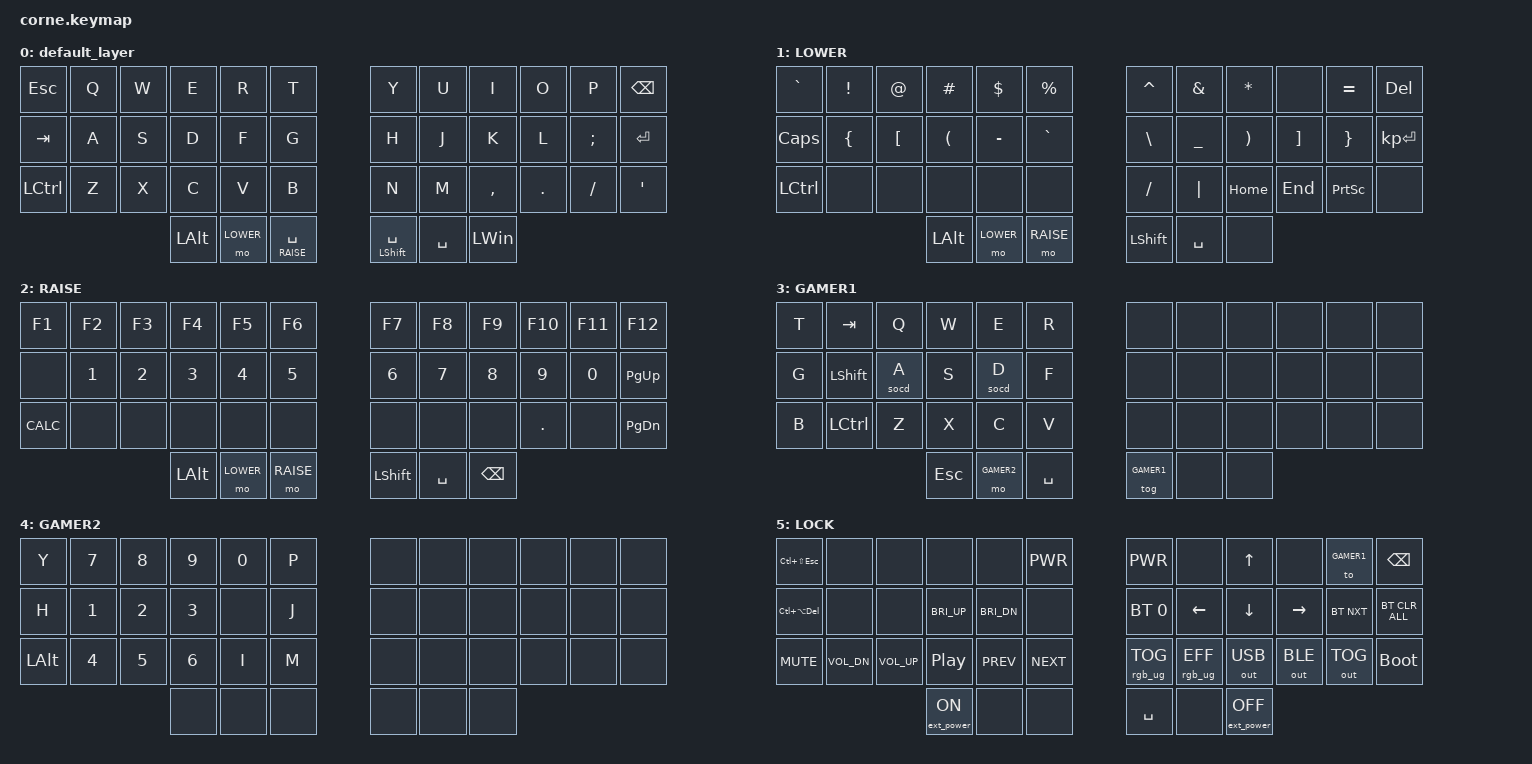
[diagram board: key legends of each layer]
/*
 * Copyright (c) 2020 The ZMK Contributors
 *
 * SPDX-License-Identifier: MIT
 */
 
#define DEFAULT  0
#define LOWER    1
#define RAISE    2
#define GAMER1   3
#define GAMER2	 4
#define LOCK     5


#include <behaviors.dtsi>
#include <behaviors/socd.dtsi>
#include <dt-bindings/zmk/keys.h>
#include <dt-bindings/zmk/bt.h>
#include <dt-bindings/zmk/rgb.h>
#include <dt-bindings/zmk/ext_power.h>
#include <dt-bindings/zmk/outputs.h>

&spi3 {

  led_strip: ws2812@0 {
    compatible = "worldsemi,ws2812-spi";

    /* SPI */
    reg = <0>; /* ignored, but necessary for SPI bindings */
    spi-max-frequency = <4000000>;

    /* WS2812 */
    chain-length = <27>; /* number of LEDs */
    spi-one-frame = <0x70>; /* make sure to configure this properly for your SOC */
    spi-zero-frame = <0x40>; /* make sure to configure this properly for your SOC */
    color-mapping = <LED_COLOR_ID_GREEN
                          LED_COLOR_ID_RED
                          LED_COLOR_ID_BLUE>;
  };
};
/ {
    chosen {
        zmk,underglow = &led_strip;
    };
};

/ {
    conditional_layers {
        compatible = "zmk,conditional-layers";
        LOCK {
            if-layers = <1 2>;
            then-layer = <5>;
        };
    };
};

/ {
        keymap {
                compatible = "zmk,keymap";

                default_layer {
// -----------------------------------------------------------------------------------------
// | ESC  |  Q  |  W  |  E  |  R  |  T  |   |  Y   |  U   |  I  |  O  |  P  | BSPC |
// | TAB  |  A  |  S  |  D  |  F  |  G  |   |  H   |  J   |  K  |  L  |  ;  | RET  |
// |LCTRL |  Z  |  X  |  C  |  V  |  B  |   |  N   |  M   |  ,  |  .  |  /  | '    |
//                    | LALT| LWR |RAISP|   |SHFTSP|SPACE | LWIN |
                        bindings = <
   &kp ESC    &kp Q  &kp W  &kp E     &kp R      &kp T                &kp Y            &kp U      &kp I      &kp O    &kp P     &kp BSPC
   &kp TAB    &kp A  &kp S  &kp D     &kp F      &kp G                &kp H            &kp J      &kp K      &kp L    &kp SEMI  &kp RET
   &kp LCTRL  &kp Z  &kp X  &kp C     &kp V      &kp B                &kp N            &kp M      &kp COMMA  &kp DOT  &kp FSLH  &kp SQT
                            &kp LALT  &mo LOWER  &lt RAISE SPACE      &mt LSHFT SPACE  &kp SPACE  &kp LWIN
                         >;
                };
                LOWER {
// -----------------------------------------------------------------------------------------
// |  `   |  !  |  @  |  #  |  $  |  %  |   |  ^  |  &  |  *  |     |  =  | DEL |
// | CAPS |  {  |  [  |  (  |  -  |  `  |   |  \  |  _  |  )  |  ]  |  }  |ENTER|
// |LCTRL |     |     |     |     |     |   |  /  | "|" |HOME | END |PSCRN|     |
//                    | LALT| LWR | RAI |   |SPACE|SPACE|     |
                        bindings = <
   &kp GRAVE  &kp EXCL  &kp AT    &kp POUND  &kp DLLR   &kp PRCNT      &kp CARET   &kp AMPS   &kp STAR  &none     &kp EQUAL  &kp DEL
   &kp CAPS   &kp LBRC  &kp LBKT  &kp LPAR   &kp MINUS  &kp GRAVE      &kp BSLH    &kp UNDER  &kp RPAR  &kp RBKT  &kp RBRC   &kp KP_ENTER
   &kp LCTRL   &none     &none     &none      &none      &none         &kp FSLH    &kp PIPE      &kp HOME  &kp END   &kp PSCRN  &none
                                  &kp LALT   &mo LOWER  &mo RAISE      &kp LSHIFT  &kp SPACE  &none
                        >;
                };

                RAISE { 
// -----------------------------------------------------------------------------------------
// | F1  |  F2 |  F3 |  F4 |  F5 |  F6 |   |  F7 |  F8 |  F9 | F10 | F11 | F12 |
// |     |  1  |  2  |  3  |  4  |  5  |   |  6  |  7  |  8  |  9  |  0  |PGUP |
// |CALC |     |     |     |     |     |   |     |     |     |  .  |     |PGDN |
//                   |LALT | LWR | RAI |   |SHIFT|SPACE| BSPC|
                        bindings = <
   &kp F1      &kp F2  &kp F3  &kp F4    &kp F5     &kp F6         &kp F7     &kp F8     &kp F9    &kp F10  &kp F11  &kp F12 
   &none       &kp N1  &kp N2  &kp N3    &kp N4     &kp N5         &kp N6     &kp N7     &kp N8    &kp N9   &kp N0   &kp PG_UP
   &kp K_CALC  &none   &none   &none     &none      &none          &none      &none      &none     &kp DOT  &none    &kp PG_DN
                    	       &kp LALT  &mo LOWER  &mo RAISE      &kp LSHIFT  &kp SPACE  &kp BSPC
                        >;
                };
		
		GAMER1 {
// -----------------------------------------------------------------------------------------
// |  T   | TAB |  Q  |  W  |  E  |  R  |   |     |     |     |     |     |     |
// |  G   |SHIFT|  A  |  S  |  D  |  F  |   |     |     |     |     |     |     |
// |  B   |LCTRL|  Z  |  X  |  C  |  V  |   |     |     |     |     |     |     |
//                    | ESC |GAMR2|SPC  |   |GAMR1|     |     |
                        bindings = <
   &kp T  &kp TAB     &kp Q  &kp W    &kp E       &kp R          &none        &none  &none  &none  &none  &none
   &kp G  &kp LSHIFT  &socd A  &kp S    &socd D       &kp F          &none        &none  &none  &none  &none  &none
   &kp B  &kp LCTRL   &kp Z  &kp X    &kp C       &kp V          &none        &none  &none  &none  &none  &none
                             &kp ESC  &mo GAMER2  &kp SPACE      &tog GAMER1  &none  &none
                        >;
                };

		GAMER2 {
// -----------------------------------------------------------------------------------------
// |  Y  |  7  |  8  |  9  |  0  |  P  |   |     |     |     |     |     |     |
// |  H  |  1  |  2  |  3  |     |  J  |   |     |     |     |     |     |     |
// | ALT |  4  |  5  |  6  |  I  |  M  |   |     |     |     |     |     |     |
//                   |     |     |     |   |     |     |     |
                        bindings = <
   &kp Y    &kp N7  &kp N8  &kp N9  &kp N0  &kp P      &none  &none  &none  &none  &none  &none
   &kp H    &kp N1  &kp N2  &kp N3  &none   &kp J      &none  &none  &none  &none  &none  &none
   &kp LALT  &kp N4  &kp N5  &kp N6  &kp I   &kp M      &none  &none  &none  &none  &none  &none
                            &none   &none   &none      &none  &none  &none
                        >;
                };
		
		LOCK {
// -----------------------------------------------------------------------------------------
// |CTSFE|TOGHM|FXBRI|FXDIM|     |K_PWR|   | C_PWR|      | UP  |     |GAMER1|BSPC |
// |CTALD|     |     |CBRUP|CBRDN|     |   | BT0  | LFT  | DWN | RHT |BTNXT |BTCLR|
// |CMUTE|VOLDN|VOLUP| CPP |PREV |NEXT |   |RGBTOG|RGBEFF|OUTUSB|OUTBLE|OUTTOG|BTLDR|
//                   |EP_ON|     |     |   |SPACE |      |EPOFF|
                        bindings = <
    &kp LC(LS(ESC))  &none &none &none             &none         &kp K_PWR       &kp C_PWR        &none            &kp UP    &none      &to GAMER1   &kp BSPC 
    &kp LC(LA(DEL))  &none        &none         &kp C_BRI_UP      &kp C_BRI_DN  &none           &bt BT_SEL 0     &kp LEFT         &kp DOWN  &kp RIGHT  &bt BT_NXT  &bt BT_CLR_ALL
    &kp C_MUTE       &kp C_VOL_DN &kp C_VOL_UP  &kp C_PP          &kp C_PREV    &kp C_NEXT      &rgb_ug RGB_TOG  &rgb_ug RGB_EFF  &out OUT_USB &out OUT_BLE &out OUT_TOG       &bootloader
                                                &ext_power EP_ON  &none         &none           &kp SPACE        &none            &ext_power EP_OFF
                        >;
                };
        };
};
